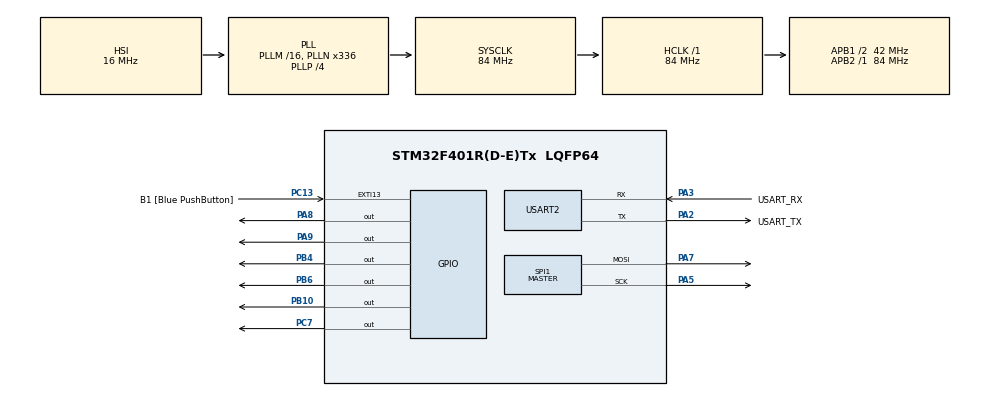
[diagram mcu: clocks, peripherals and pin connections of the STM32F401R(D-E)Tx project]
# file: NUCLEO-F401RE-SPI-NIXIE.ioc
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Mcu.Family=STM32F4
PA2.GPIO_PuPd=GPIO_NOPULL
RCC.CortexFreq_Value=84000000
SPI1.VirtualType=VM_MASTER
PA14.GPIO_Label=TCK
PA3.GPIO_PuPd=GPIO_NOPULL
PA2.GPIO_Speed=GPIO_SPEED_FREQ_LOW
VP_RTC_VS_RTC_Activate.Mode=RTC_Enabled
PA3.GPIO_Speed=GPIO_SPEED_FREQ_LOW
RCC.SYSCLKSource=RCC_SYSCLKSOURCE_PLLCLK
ProjectManager.StackSize=0x400
PH0\ -\ OSC_IN.Signal=RCC_OSC_IN
SPI1.Direction=SPI_DIRECTION_2LINES
RCC.HCLKFreq_Value=84000000
RCC.APB2TimFreq_Value=84000000
PB6.Signal=GPIO_Output
PC7.Signal=GPIO_Output
RCC.AHBFreq_Value=84000000
RCC.HSE_VALUE=8000000
PC13-ANTI_TAMP.Signal=GPXTI13
RTC.Month=RTC_MONTH_FEBRUARY
PC14-OSC32_IN.Mode=LSE-External-Oscillator
PA14.Mode=Serial_Wire
PA8.Signal=GPIO_Output
Mcu.Package=LQFP64
USART2.VirtualMode=VM_ASYNC
PA2.GPIO_Label=USART_TX
VP_RTC_VS_RTC_Calendar.Mode=RTC_Calendar
RCC.APB1TimFreq_Value=84000000
SPI1.BaudRatePrescaler=SPI_BAUDRATEPRESCALER_128
PB4.Signal=GPIO_Output
PA3.Signal=USART2_RX
PA5.Mode=TX_Only_Simplex_Unidirect_Master
PA2.GPIO_Mode=GPIO_MODE_AF_PP
PB3.GPIO_Label=SWO
PC15-OSC32_OUT.Mode=LSE-External-Oscillator
PA7.Mode=TX_Only_Simplex_Unidirect_Master
PC13-ANTI_TAMP.GPIO_PuPd=GPIO_NOPULL
PC13-ANTI_TAMP.GPIO_Label=B1 [Blue PushButton]
PH1\ -\ OSC_OUT.Mode=HSE-External-Clock-Source
RCC.APB1CLKDivider=RCC_HCLK_DIV2
PC14-OSC32_IN.Signal=RCC_OSC32_IN
PA13.Signal=SYS_JTMS-SWDIO
PA3.Mode=Asynchronous
PH0\ -\ OSC_IN.Mode=HSE-External-Clock-Source
ProjectManager.TargetToolchain=STM32CubeIDE
RTC.Year=23
PA3.GPIO_Mode=GPIO_MODE_AF_PP
PA9.Signal=GPIO_Output
PC15-OSC32_OUT.Signal=RCC_OSC32_OUT
PB10.Signal=GPIO_Output
PA5.Signal=SPI1_SCK
PH1\ -\ OSC_OUT.Signal=RCC_OSC_OUT
board=NUCLEO-F401RE
RCC.VCOOutputFreq_Value=336000000
RCC.APB2Freq_Value=84000000
SPI1.Mode=SPI_MODE_MASTER
PA13.Mode=Serial_Wire
Mcu.Name=STM32F401R(D-E)Tx
PA13.GPIO_Label=TMS
PA2.Signal=USART2_TX
RCC.48MHZClocksFreq_Value=48000000
PB3.Signal=SYS_JTDO-SWO
RCC.SYSCLKFreq_VALUE=84000000
PC13-ANTI_TAMP.GPIO_ModeDefaultEXTI=GPIO_MODE_IT_FALLING
PA14.Signal=SYS_JTCK-SWCLK
ProjectManager.HeapSize=0x200
RCC.HSI_VALUE=16000000
RCC.PLLP=RCC_PLLP_DIV4
RCC.PLLQ=7
NVIC.PriorityGroup=NVIC_PRIORITYGROUP_0
RCC.PLLN=336
PA2.Mode=Asynchronous
RCC.APB1Freq_Value=42000000
RTC.Date=6
PA3.GPIO_Label=USART_RX
PA7.Signal=SPI1_MOSI

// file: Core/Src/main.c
/* USER CODE BEGIN Header */
/**
  ******************************************************************************
  * @file           : main.c
  * @brief          : Main program body
  ******************************************************************************
  * @attention
  *
  * <h2><center>&copy; Copyright (c) 2021 STMicroelectronics.
  * All rights reserved.</center></h2>
  *
  * This software component is licensed by ST under BSD 3-Clause license,
  * the "License"; You may not use this file except in compliance with the
  * License. You may obtain a copy of the License at:
  *                        opensource.org/licenses/BSD-3-Clause
  *
  ******************************************************************************
  */
/* USER CODE END Header */
#include "main.h"

/* USER CODE BEGIN Includes */

#include <stdio.h>

/* USER CODE END Includes */

RTC_HandleTypeDef hrtc;

SPI_HandleTypeDef hspi1;

UART_HandleTypeDef huart2;

void SystemClock_Config(void);
static void MX_GPIO_Init(void);
static void MX_USART2_UART_Init(void);
static void MX_SPI1_Init(void);
static void MX_RTC_Init(void);
/* USER CODE BEGIN PFP */
void Set_Digit(int, uint8_t, uint8_t);
void Set_Led(int, uint8_t, uint8_t, uint8_t);
void Set_Dots(int, uint8_t, uint8_t);
void Set_None();

void Start_Animation();
void Temp_Clock();
/* USER CODE END PFP */

/* USER CODE BEGIN 0 */

// State Functions:
void(*state)();

void Start_Animation(){
	Set_None();
	HAL_Delay(100);
	int day1 = 0;
	int day2 = 0;
	int hour1 = 0;
	int hour2 = 0;
	int min1 = 0;
	int min2 = 0;
	int sec1 = 0;
	int sec2 = 0;

	//Set Countdown

	dayone:
	while (1){
		for (int i=0; i<10; i++) {
			Set_Digit(1, i, 127);
			HAL_Delay(1000);
			day1 = i;
			if(HAL_GPIO_ReadPin(GPIOC, B1_Pin) == GPIO_PIN_RESET){
				goto daytwo;
			}
		}
	}

	daytwo:
	while (1){
		for (int i=0; i<10; i++) {
			Set_Digit(2, i, 127);
			HAL_Delay(1000);
			day2 = i;
			if(HAL_GPIO_ReadPin(GPIOC, B1_Pin) == GPIO_PIN_RESET){
				goto hourone;
			}
		}
	}

	hourone:
	while (1){
		for (int i=0; i<10; i++) {
			Set_Digit(3, i, 127);
			HAL_Delay(1000);
			hour1 = i;
			if(HAL_GPIO_ReadPin(GPIOC, B1_Pin) == GPIO_PIN_RESET){
				goto hourtwo;
			}
		}
	}

	hourtwo:
	while (1){
		for (int i=0; i<10; i++) {
			Set_Digit(4, i, 127);
			HAL_Delay(1000);
			hour2 = i;
			if(HAL_GPIO_ReadPin(GPIOC, B1_Pin) == GPIO_PIN_RESET){
				goto minone;
			}
		}
	}

	minone:
	while (1){
		for (int i=0; i<10; i++) {
			Set_Digit(5, i, 127);
			HAL_Delay(1000);
			min1 = i;
			if(HAL_GPIO_ReadPin(GPIOC, B1_Pin) == GPIO_PIN_RESET){
				goto mintwo;
			}
		}
	}

	mintwo:
	while (1){
		for (int i=0; i<10; i++) {
			Set_Digit(6, i, 127);
			HAL_Delay(1000);
			min2 = i;
			if(HAL_GPIO_ReadPin(GPIOC, B1_Pin) == GPIO_PIN_RESET){
				goto clockloop;
			}
		}
	}

	clockloop:
	// Clock Loop
	while(1){
		//calculate the next second
		sec2 -= 1;
		if (sec2 == -1){
			sec1 -= 1;
			sec2 = 9;
		}
		if (sec1 == -1){
			min2 -= 1;
			sec1 = 5;
			sec2 = 9;
		}
		if (min2 == -1){
			min1 -= 1;
			min2 = 9;
			sec1 = 5;
			sec2 = 9;
		}
		if (min1 == -1){
			hour2 -= 1;
			min1 = 5;
			min2 = 9;
			sec1 = 5;
			sec2 = 9;
		}
		if (hour2 == -1){
			hour1 -= 1;
			hour2 = 9;
			min1 = 5;
			min2 = 9;
			sec1 = 5;
			sec2 = 9;
		}
		if (hour1 == -1){
			day2 -= 1;
			hour1 = 2;
			hour2 = 3;
			min1 = 5;
			min2 = 9;
			sec1 = 5;
			sec2 = 9;
		}
		if (day2 == -1){
			day1 -= 1;
			day2 = 9;
			hour1 = 2;
			hour2 = 3;
			min1 = 5;
			min2 = 9;
			sec1 = 5;
			sec2 = 9;
		}
		if (day1 == -1){
			while(1){
				//display zeros
				Set_Digit(1, 0, 127);
				Set_Digit(2, 0, 127);
				Set_Digit(3, 0, 127);
				Set_Digit(4, 0, 127);
				Set_Digit(5, 0, 127);
				Set_Digit(6, 0, 127);
				HAL_Delay(900);

				Set_None();
				HAL_Delay(100);
			}
		}

		//display the next second
		Set_Digit(1, hour1, 127);
		Set_Digit(2, hour2, 127);
		Set_Digit(3, min1, 127);
		Set_Digit(4, min2, 127);
		Set_Digit(5, sec1, 127);
		Set_Digit(6, sec2, 127);
		HAL_Delay(1000);
	}
	state = Start_Animation;
}

void Temp_Clock() {
	while(1) {
		Set_None();
	}
	state = Start_Animation;
}

/* USER CODE END 0 */

int main(void)
{
  /* USER CODE BEGIN 1 */

	state = Start_Animation; //set the starting state
  /* USER CODE END 1 */

  /* MCU Configuration--------------------------------------------------------*/

  /* Reset of all peripherals, Initializes the Flash interface and the Systick. */
  HAL_Init();

  /* Configure the system clock */
  SystemClock_Config();

  /* Initialize all configured peripherals */
  MX_GPIO_Init();
  MX_USART2_UART_Init();
  MX_SPI1_Init();
  MX_RTC_Init();
  /* USER CODE BEGIN 2 */

  //print a test to serial monitor to make sure everything is working
  //uart_buf_len = sprintf(uart_buf, "SPI TEST\r\n");
  //HAL_UART_Transmit(&huart2, (uint8_t *)uart_buf, uart_buf_len, 100);

  /* USER CODE END 2 */

  /* Infinite loop */
  /* USER CODE BEGIN WHILE */
  while (1)
  {
  	state();
    /* USER CODE END WHILE */

  }
}

void SystemClock_Config(void)
{
  RCC_OscInitTypeDef RCC_OscInitStruct = {0};
  RCC_ClkInitTypeDef RCC_ClkInitStruct = {0};
  RCC_PeriphCLKInitTypeDef PeriphClkInitStruct = {0};

  /** Configure the main internal regulator output voltage
  */
  __HAL_RCC_PWR_CLK_ENABLE();
  __HAL_PWR_VOLTAGESCALING_CONFIG(PWR_REGULATOR_VOLTAGE_SCALE2);
  /** Initializes the RCC Oscillators according to the specified parameters
  * in the RCC_OscInitTypeDef structure.
  */
  RCC_OscInitStruct.OscillatorType = RCC_OSCILLATORTYPE_HSI|RCC_OSCILLATORTYPE_LSI;
  RCC_OscInitStruct.HSIState = RCC_HSI_ON;
  RCC_OscInitStruct.HSICalibrationValue = RCC_HSICALIBRATION_DEFAULT;
  RCC_OscInitStruct.LSIState = RCC_LSI_ON;
  RCC_OscInitStruct.PLL.PLLState = RCC_PLL_ON;
  RCC_OscInitStruct.PLL.PLLSource = RCC_PLLSOURCE_HSI;
  RCC_OscInitStruct.PLL.PLLM = 16;
  RCC_OscInitStruct.PLL.PLLN = 336;
  RCC_OscInitStruct.PLL.PLLP = RCC_PLLP_DIV4;
  RCC_OscInitStruct.PLL.PLLQ = 7;
  if (HAL_RCC_OscConfig(&RCC_OscInitStruct) != HAL_OK)
  {
    Error_Handler();
  }
  /** Initializes the CPU, AHB and APB buses clocks
  */
  RCC_ClkInitStruct.ClockType = RCC_CLOCKTYPE_HCLK|RCC_CLOCKTYPE_SYSCLK
                              |RCC_CLOCKTYPE_PCLK1|RCC_CLOCKTYPE_PCLK2;
  RCC_ClkInitStruct.SYSCLKSource = RCC_SYSCLKSOURCE_PLLCLK;
  RCC_ClkInitStruct.AHBCLKDivider = RCC_SYSCLK_DIV1;
  RCC_ClkInitStruct.APB1CLKDivider = RCC_HCLK_DIV2;
  RCC_ClkInitStruct.APB2CLKDivider = RCC_HCLK_DIV1;

  if (HAL_RCC_ClockConfig(&RCC_ClkInitStruct, FLASH_LATENCY_2) != HAL_OK)
  {
    Error_Handler();
  }
  PeriphClkInitStruct.PeriphClockSelection = RCC_PERIPHCLK_RTC;
  PeriphClkInitStruct.RTCClockSelection = RCC_RTCCLKSOURCE_LSI;
  if (HAL_RCCEx_PeriphCLKConfig(&PeriphClkInitStruct) != HAL_OK)
  {
    Error_Handler();
  }
}

static void MX_RTC_Init(void)
{

  RTC_TimeTypeDef sTime = {0};
  RTC_DateTypeDef sDate = {0};

  /** Initialize RTC Only
  */
  hrtc.Instance = RTC;
  hrtc.Init.HourFormat = RTC_HOURFORMAT_24;
  hrtc.Init.AsynchPrediv = 127;
  hrtc.Init.SynchPrediv = 255;
  hrtc.Init.OutPut = RTC_OUTPUT_DISABLE;
  hrtc.Init.OutPutPolarity = RTC_OUTPUT_POLARITY_HIGH;
  hrtc.Init.OutPutType = RTC_OUTPUT_TYPE_OPENDRAIN;
  if (HAL_RTC_Init(&hrtc) != HAL_OK)
  {
    Error_Handler();
  }

  /** Initialize RTC and set the Time and Date
  */
  sTime.Hours = 0x0;
  sTime.Minutes = 0x0;
  sTime.Seconds = 0x0;
  sTime.DayLightSaving = RTC_DAYLIGHTSAVING_NONE;
  sTime.StoreOperation = RTC_STOREOPERATION_RESET;
  if (HAL_RTC_SetTime(&hrtc, &sTime, RTC_FORMAT_BCD) != HAL_OK)
  {
    Error_Handler();
  }
  sDate.WeekDay = RTC_WEEKDAY_MONDAY;
  sDate.Month = RTC_MONTH_FEBRUARY;
  sDate.Date = 0x6;
  sDate.Year = 0x23;

  if (HAL_RTC_SetDate(&hrtc, &sDate, RTC_FORMAT_BCD) != HAL_OK)
  {
    Error_Handler();
  }

}

static void MX_SPI1_Init(void)
{

  /* SPI1 parameter configuration*/
  hspi1.Instance = SPI1;
  hspi1.Init.Mode = SPI_MODE_MASTER;
  hspi1.Init.Direction = SPI_DIRECTION_2LINES;
  hspi1.Init.DataSize = SPI_DATASIZE_8BIT;
  hspi1.Init.CLKPolarity = SPI_POLARITY_LOW;
  hspi1.Init.CLKPhase = SPI_PHASE_1EDGE;
  hspi1.Init.NSS = SPI_NSS_SOFT;
  hspi1.Init.BaudRatePrescaler = SPI_BAUDRATEPRESCALER_128;
  hspi1.Init.FirstBit = SPI_FIRSTBIT_MSB;
  hspi1.Init.TIMode = SPI_TIMODE_DISABLE;
  hspi1.Init.CRCCalculation = SPI_CRCCALCULATION_DISABLE;
  hspi1.Init.CRCPolynomial = 10;
  if (HAL_SPI_Init(&hspi1) != HAL_OK)
  {
    Error_Handler();
  }

}

static void MX_USART2_UART_Init(void)
{

  huart2.Instance = USART2;
  huart2.Init.BaudRate = 115200;
  huart2.Init.WordLength = UART_WORDLENGTH_8B;
  huart2.Init.StopBits = UART_STOPBITS_1;
  huart2.Init.Parity = UART_PARITY_NONE;
  huart2.Init.Mode = UART_MODE_TX_RX;
  huart2.Init.HwFlowCtl = UART_HWCONTROL_NONE;
  huart2.Init.OverSampling = UART_OVERSAMPLING_16;
  if (HAL_UART_Init(&huart2) != HAL_OK)
  {
    Error_Handler();
  }

}

static void MX_GPIO_Init(void)
{
  GPIO_InitTypeDef GPIO_InitStruct = {0};

  /* GPIO Ports Clock Enable */
  __HAL_RCC_GPIOC_CLK_ENABLE();
  __HAL_RCC_GPIOH_CLK_ENABLE();
  __HAL_RCC_GPIOA_CLK_ENABLE();
  __HAL_RCC_GPIOB_CLK_ENABLE();

  /*Configure GPIO pin Output Level */
  HAL_GPIO_WritePin(GPIOB, GPIO_PIN_10|GPIO_PIN_4|GPIO_PIN_6, GPIO_PIN_RESET);

  /*Configure GPIO pin Output Level */
  HAL_GPIO_WritePin(GPIOC, GPIO_PIN_7, GPIO_PIN_RESET);

  /*Configure GPIO pin Output Level */
  HAL_GPIO_WritePin(GPIOA, GPIO_PIN_8|GPIO_PIN_9, GPIO_PIN_RESET);

  /*Configure GPIO pin : B1_Pin */
  GPIO_InitStruct.Pin = B1_Pin;
  GPIO_InitStruct.Mode = GPIO_MODE_IT_FALLING;
  GPIO_InitStruct.Pull = GPIO_NOPULL;
  HAL_GPIO_Init(B1_GPIO_Port, &GPIO_InitStruct);

  /*Configure GPIO pins : PB10 PB4 PB6 */
  GPIO_InitStruct.Pin = GPIO_PIN_10|GPIO_PIN_4|GPIO_PIN_6;
  GPIO_InitStruct.Mode = GPIO_MODE_OUTPUT_PP;
  GPIO_InitStruct.Pull = GPIO_NOPULL;
  GPIO_InitStruct.Speed = GPIO_SPEED_FREQ_LOW;
  HAL_GPIO_Init(GPIOB, &GPIO_InitStruct);

  /*Configure GPIO pin : PC7 */
  GPIO_InitStruct.Pin = GPIO_PIN_7;
  GPIO_InitStruct.Mode = GPIO_MODE_OUTPUT_PP;
  GPIO_InitStruct.Pull = GPIO_NOPULL;
  GPIO_InitStruct.Speed = GPIO_SPEED_FREQ_LOW;
  HAL_GPIO_Init(GPIOC, &GPIO_InitStruct);

  /*Configure GPIO pins : PA8 PA9 */
  GPIO_InitStruct.Pin = GPIO_PIN_8|GPIO_PIN_9;
  GPIO_InitStruct.Mode = GPIO_MODE_OUTPUT_PP;
  GPIO_InitStruct.Pull = GPIO_NOPULL;
  GPIO_InitStruct.Speed = GPIO_SPEED_FREQ_LOW;
  HAL_GPIO_Init(GPIOA, &GPIO_InitStruct);

}

/* USER CODE BEGIN 4 */
void Set_Digit(int location, uint8_t digit, uint8_t brightness)
{
	uint8_t EXIXE_DIGIT[16] = {0b10101010, 0b10000000, 0b10000000, 0b10000000, 0b10000000, 0b10000000, 0b10000000, 0b10000000, 0b10000000, 0b10000000, 0b10000000, 0b00000000, 0b00000000, 0b00000000, 0b00000000, 0b00000000};
	if(digit != 0)
	{
		EXIXE_DIGIT[digit] = brightness + 0b10000000;
	}
	else if(digit == 0)
	{
		EXIXE_DIGIT[10] = brightness + 0b10000000;
	}

	//Set the proper CS pin to LOW
	switch(location){
	case 1:
		HAL_GPIO_WritePin(GPIOB, GPIO_PIN_4, GPIO_PIN_RESET);
		break;
	case 2:
		HAL_GPIO_WritePin(GPIOB, GPIO_PIN_10, GPIO_PIN_RESET);
		break;
	case 3:
		HAL_GPIO_WritePin(GPIOA, GPIO_PIN_8, GPIO_PIN_RESET);
		break;
	case 4:
		HAL_GPIO_WritePin(GPIOA, GPIO_PIN_9, GPIO_PIN_RESET);
		break;
	case 5:
		HAL_GPIO_WritePin(GPIOC, GPIO_PIN_7, GPIO_PIN_RESET);
		break;
	case 6:
		HAL_GPIO_WritePin(GPIOB, GPIO_PIN_6, GPIO_PIN_RESET);
		break;
	}
	HAL_SPI_Transmit(&hspi1, (uint8_t *)&EXIXE_DIGIT, 16, 100);

	//Set the proper CS pin to HIGH
	switch(location){
	case 1:
		HAL_GPIO_WritePin(GPIOB, GPIO_PIN_4, GPIO_PIN_SET);
		break;
	case 2:
		HAL_GPIO_WritePin(GPIOB, GPIO_PIN_10, GPIO_PIN_SET);
		break;
	case 3:
		HAL_GPIO_WritePin(GPIOA, GPIO_PIN_8, GPIO_PIN_SET);
		break;
	case 4:
		HAL_GPIO_WritePin(GPIOA, GPIO_PIN_9, GPIO_PIN_SET);
		break;
	case 5:
		HAL_GPIO_WritePin(GPIOC, GPIO_PIN_7, GPIO_PIN_SET);
		break;
	case 6:
		HAL_GPIO_WritePin(GPIOB, GPIO_PIN_6, GPIO_PIN_SET);
		break;
	}
}

void Set_None()
{
	uint8_t EXIXE_NONE[16] = {0b10101010, 0b10000000, 0b10000000, 0b10000000, 0b10000000, 0b10000000, 0b10000000, 0b10000000, 0b10000000, 0b10000000, 0b10000000, 0b10000000, 0b10000000, 0b10000000, 0b10000000, 0b10000000};
	//turn the CS pin on high for each nixie
	HAL_GPIO_WritePin(GPIOB, GPIO_PIN_4, GPIO_PIN_RESET);
	HAL_GPIO_WritePin(GPIOB, GPIO_PIN_10, GPIO_PIN_RESET);
	HAL_GPIO_WritePin(GPIOA, GPIO_PIN_8, GPIO_PIN_RESET);
	HAL_GPIO_WritePin(GPIOA, GPIO_PIN_9, GPIO_PIN_RESET);
	HAL_GPIO_WritePin(GPIOC, GPIO_PIN_7, GPIO_PIN_RESET);
	HAL_GPIO_WritePin(GPIOB, GPIO_PIN_6, GPIO_PIN_RESET);

	HAL_SPI_Transmit(&hspi1, (uint8_t *)&EXIXE_NONE, 16, 100);

	//turn the CS pin on high for each nixie
	HAL_GPIO_WritePin(GPIOB, GPIO_PIN_4, GPIO_PIN_SET);
	HAL_GPIO_WritePin(GPIOB, GPIO_PIN_10, GPIO_PIN_SET);
	HAL_GPIO_WritePin(GPIOA, GPIO_PIN_8, GPIO_PIN_SET);
	HAL_GPIO_WritePin(GPIOA, GPIO_PIN_9, GPIO_PIN_SET);
	HAL_GPIO_WritePin(GPIOC, GPIO_PIN_7, GPIO_PIN_SET);
	HAL_GPIO_WritePin(GPIOB, GPIO_PIN_6, GPIO_PIN_SET);
}

void Set_Led(int location, uint8_t red, uint8_t green, uint8_t blue)
{
	uint8_t EXIXE_LED[16] = {0b10101010, 0b00000000, 0b00000000, 0b00000000, 0b00000000, 0b00000000, 0b00000000, 0b00000000, 0b00000000, 0b00000000, 0b00000000, 0b00000000, 0b00000000, red + 0b10000000, green + 0b10000000, blue + 0b10000000};

	//Set the proper CS pin to LOW
	switch(location){
	case 1:
		HAL_GPIO_WritePin(GPIOB, GPIO_PIN_4, GPIO_PIN_RESET);
		break;
	case 2:
		HAL_GPIO_WritePin(GPIOB, GPIO_PIN_10, GPIO_PIN_RESET);
		break;
	case 3:
		HAL_GPIO_WritePin(GPIOA, GPIO_PIN_8, GPIO_PIN_RESET);
		break;
	case 4:
		HAL_GPIO_WritePin(GPIOA, GPIO_PIN_9, GPIO_PIN_RESET);
		break;
	case 5:
		HAL_GPIO_WritePin(GPIOC, GPIO_PIN_7, GPIO_PIN_RESET);
		break;
	case 6:
		HAL_GPIO_WritePin(GPIOB, GPIO_PIN_6, GPIO_PIN_RESET);
		break;
	}

	HAL_SPI_Transmit(&hspi1, (uint8_t *)&EXIXE_LED, 16, 100);

	//Set the proper CS pin to HIGH
	switch(location){
	case 1:
		HAL_GPIO_WritePin(GPIOB, GPIO_PIN_4, GPIO_PIN_SET);
		break;
	case 2:
		HAL_GPIO_WritePin(GPIOB, GPIO_PIN_10, GPIO_PIN_SET);
		break;
	case 3:
		HAL_GPIO_WritePin(GPIOA, GPIO_PIN_8, GPIO_PIN_SET);
		break;
	case 4:
		HAL_GPIO_WritePin(GPIOA, GPIO_PIN_9, GPIO_PIN_SET);
		break;
	case 5:
		HAL_GPIO_WritePin(GPIOC, GPIO_PIN_7, GPIO_PIN_SET);
		break;
	case 6:
		HAL_GPIO_WritePin(GPIOB, GPIO_PIN_6, GPIO_PIN_SET);
		break;
	}
}

void Set_Dots(int location, uint8_t left_brightness, uint8_t right_brightness)
{
	uint8_t EXIXE_DOTS[16] = {0b10101010, 0b00000000, 0b00000000, 0b00000000, 0b00000000, 0b00000000, 0b00000000, 0b00000000, 0b00000000, 0b00000000, 0b00000000, left_brightness + 0b10000000, right_brightness + 0b10000000, 0b00000000, 0b00000000, 0b00000000};

	//Set the proper CS pin to LOW
	switch(location){
	case 1:
		HAL_GPIO_WritePin(GPIOB, GPIO_PIN_4, GPIO_PIN_RESET);
		break;
	case 2:
		HAL_GPIO_WritePin(GPIOB, GPIO_PIN_10, GPIO_PIN_RESET);
		break;
	case 3:
		HAL_GPIO_WritePin(GPIOA, GPIO_PIN_8, GPIO_PIN_RESET);
		break;
	case 4:
		HAL_GPIO_WritePin(GPIOA, GPIO_PIN_9, GPIO_PIN_RESET);
		break;
	case 5:
		HAL_GPIO_WritePin(GPIOC, GPIO_PIN_7, GPIO_PIN_RESET);
		break;
	case 6:
		HAL_GPIO_WritePin(GPIOB, GPIO_PIN_6, GPIO_PIN_RESET);
		break;
	}

	HAL_SPI_Transmit(&hspi1, (uint8_t *)&EXIXE_DOTS, 16, 100);

	//Set the proper CS pin to HIGH
	switch(location){
	case 1:
		HAL_GPIO_WritePin(GPIOB, GPIO_PIN_4, GPIO_PIN_SET);
		break;
	case 2:
		HAL_GPIO_WritePin(GPIOB, GPIO_PIN_10, GPIO_PIN_SET);
		break;
	case 3:
		HAL_GPIO_WritePin(GPIOA, GPIO_PIN_8, GPIO_PIN_SET);
		break;
	case 4:
		HAL_GPIO_WritePin(GPIOA, GPIO_PIN_9, GPIO_PIN_SET);
		break;
	case 5:
		HAL_GPIO_WritePin(GPIOC, GPIO_PIN_7, GPIO_PIN_SET);
		break;
	case 6:
		HAL_GPIO_WritePin(GPIOB, GPIO_PIN_6, GPIO_PIN_SET);
		break;
	}
}
/* USER CODE END 4 */

void Error_Handler(void)
{
  __disable_irq();
  while (1)
  {
  }
}

/************************ (C) COPYRIGHT STMicroelectronics *****END OF FILE****/
